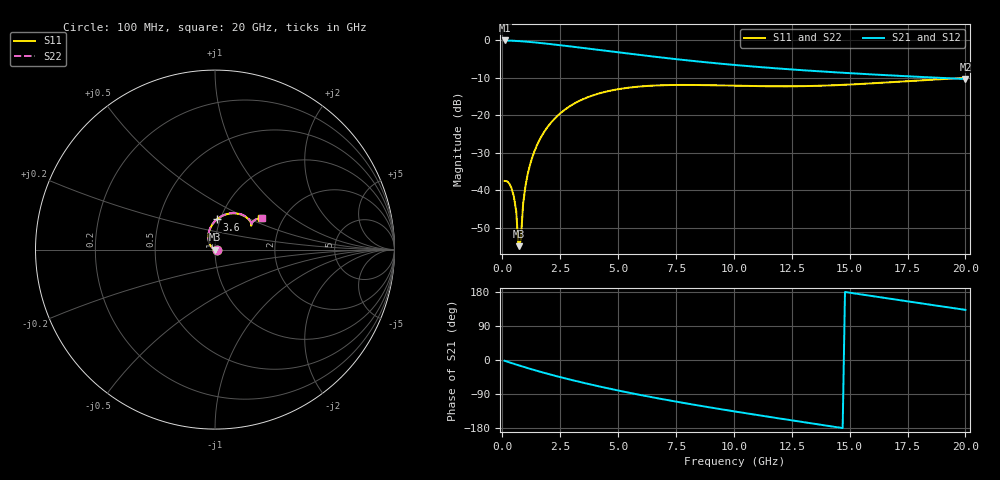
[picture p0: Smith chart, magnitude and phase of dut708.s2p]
! Touchstone file exported from HFSS 2024.1.0
!  File:  C:/UserFiles/LocalFiles/RDL_TSV_Batchsim/temp_RDL_TSV_708_1779887802.aedt
!  Generated:  09:29:01 PM May 27, 2026
!  Design:  RDL_TSV
!  Project:  temp_RDL_TSV_708_1779887802
!  Setup:  Setup1
!  Solution:  Sweep
! Variables:
!  dtsv = 10.74um
!  hbump = 3um
!  htsv = 73.52um
!  ldown = 473.88um
!  lrdl = 485.13um
!  p = 40
!  p1 = 55.51um
!  rhole = 10um
!  subl = 3362.16um
!  t = 450um
!  tdown = 3.49um
!  trdl = 3.59um
!  viad = 10um
!  wdown = 26.43um
!  wrdl = 27.45um
!  xbump = 18um
# GHz S MA R 50.000000
! Terminal data exported
! Port[1] = TM1_1_T1
! Port[2] = TM1_4_T1
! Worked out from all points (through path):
!   200 points, 100 MHz to 20 GHz, reference 50 ohm
!   highest |S21| = -0.12 dB at 100 MHz (marker M1); lowest = -10.4 dB at 20 GHz (marker M2)
!   group delay of S21, straight-line fit = 29.8 ps
!   lowest |S11| = -55.0 dB at 700 MHz (marker M3), VSWR 1.00, Z = 50.2 - j0.077 ohm
!   |S11| at or under -10 dB: start of sweep to end of sweep
!   |S22| runs from -55.3 to -10.0 dB; largest |S21 - S12| = 9.2e-15
!   S11 on the Smith chart (normalised r, x): 100 MHz: 1.03, +0.00; 3.6 GHz: 0.96, +0.33; 20 GHz: 1.55, +0.61
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0.1  0.01323 0.6  0.9861 -2.1  0.9861 -2.1  0.01323 0.6
! Gamma 0 0 0 0
! Port Impedance 50 0 50 0
0.3  0.01225 -5.6  0.9817 -6.1  0.9817 -6.1  0.01224 -5.6
0.5  0.0082 -13.8  0.9755 -10.1  0.9755 -10.1  0.008167 -13.8
0.6  0.005255 -18.2  0.9718 -12.0  0.9718 -12.0  0.005207 -18.2
0.7  0.001789 -25.4  0.9676 -13.9  0.9676 -13.9  0.001723 -25.5
0.8  0.002176 160.9  0.9631 -15.8  0.9631 -15.8  0.002261 160.7
0.9  0.006557 154.5  0.9581 -17.7  0.9581 -17.7  0.006665 154.5
1  0.01134 150.6  0.9528 -19.6  0.9528 -19.6  0.01147 150.6
1.2  0.02191 143.8  0.9412 -23.3  0.9412 -23.3  0.0221 143.8
1.5  0.03973 134.5  0.9221 -28.6  0.9221 -28.6  0.04 134.6
1.9  0.06561 123.3  0.8948 -35.5  0.8948 -35.5  0.06602 123.4
2.3  0.09213 113.2  0.8667 -42.0  0.8667 -42.0  0.09268 113.3
2.8  0.124 101.9  0.8314 -49.8  0.8314 -49.8  0.1248 102.0
3.5  0.1634 88.2  0.7829 -60.1  0.7829 -60.1  0.1644 88.3
3.6  0.1684 86.5  0.7761 -61.6  0.7761 -61.6  0.1694 86.6
5  0.221 65.9  0.6861 -80.4  0.6861 -80.4  0.2224 65.9
6.8  0.2489 48.3  0.588 -102.0  0.588 -102.0  0.2506 48.4
8.4  0.2514 39.0  0.5192 -119.3  0.5192 -119.3  0.2533 39.1
10.1  0.2456 34.3  0.4629 -136.4  0.4629 -136.4  0.2476 34.3
13.4  0.2441 34.5  0.3877 -167.6  0.3877 -167.6  0.2459 34.5
16.7  0.273 36.7  0.3382 162.1  0.3382 162.1  0.2746 36.7
20  0.3128 34.2  0.3021 132.3  0.3021 132.3  0.3145 34.2
